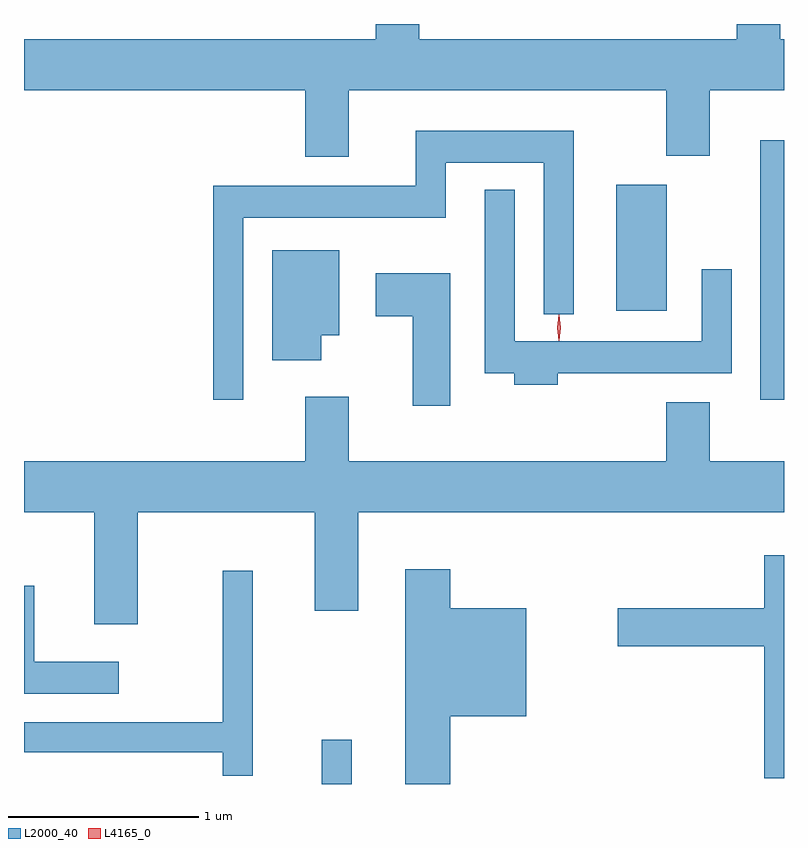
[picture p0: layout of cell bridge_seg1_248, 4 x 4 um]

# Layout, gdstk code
import gdstk
lib = gdstk.Library(unit=1e-6, precision=1e-09)
def R(c, l, rs):  # rectangles x0, y0, x1, y1
    for r in rs: c.add(gdstk.rectangle(r[:2], r[2:], *l))
def P(c, l, *ps):  # polygons
    for p in ps: c.add(gdstk.Polygon(p, *l))
L2000_40 = (2000, 40)
L4165_0 = (4165, 0)

bridge_seg1_248 = lib.new_cell('bridge_seg1_248')
R(bridge_seg1_248, L2000_40, [(962.956,889.265,963.114,889.498), (965.266,891.288,965.39,892.654), (964.506,891.756,964.774,892.419)])
P(bridge_seg1_248, L2000_40, [(963.099,892.916),(964.771,892.916),(964.771,892.571),(964.999,892.571),(964.999,892.916),(965.39,892.916),(965.39,893.184),(965.369,893.184),(965.369,893.265),(965.141,893.265),(965.141,893.184),(963.469,893.184),(963.469,893.265),(963.241,893.265),(963.241,893.184),(961.39,893.184),(961.39,892.916),(962.871,892.916),(962.871,892.566),(963.099,892.566)],
  [(962.544,892.246),(963.609,892.246),(963.609,892.536),(964.126,892.536),(964.126,891.738),(964.284,891.738),(964.284,892.704),(963.451,892.704),(963.451,892.414),(962.386,892.414),(962.386,891.288),(962.544,891.288)],
  [(964.199,891.426),(965.114,891.426),(965.114,891.973),(964.956,891.973),(964.956,891.594),(963.974,891.594),(963.974,892.393),(963.816,892.393),(963.816,891.426),(963.971,891.426),(963.971,891.366),(964.199,891.366)],
  [(962.954,891.626),(963.049,891.626),(963.049,892.074),(962.696,892.074),(962.696,891.496),(962.954,891.496)],
  [(963.634,891.954),(963.241,891.954),(963.241,891.726),(963.436,891.726),(963.436,891.256),(963.634,891.256)],
  [(961.989,890.696),(962.921,890.696),(962.921,890.176),(963.149,890.176),(963.149,890.696),(965.39,890.696),(965.39,890.964),(964.999,890.964),(964.999,891.274),(964.771,891.274),(964.771,890.964),(963.099,890.964),(963.099,891.304),(962.871,891.304),(962.871,890.964),(961.39,890.964),(961.39,890.696),(961.761,890.696),(961.761,890.106),(961.989,890.106)],
  [(965.39,890.469),(965.286,890.469),(965.286,890.189),(964.516,890.189),(964.516,889.991),(965.286,889.991),(965.286,889.296),(965.39,889.296)],
  [(963.634,889.621),(964.034,889.621),(964.034,890.189),(963.634,890.189),(963.634,890.394),(963.396,890.394),(963.396,889.265),(963.634,889.265)],
  [(962.594,890.388),(962.436,890.388),(962.436,889.589),(961.39,889.589),(961.39,889.431),(962.436,889.431),(962.436,889.308),(962.594,889.308)],
  [(961.888,889.909),(961.444,889.909),(961.444,890.309),(961.39,890.309),(961.39,889.741),(961.888,889.741)])
P(bridge_seg1_248, L4165_0, [(964.205,891.597),(964.196,891.667),(964.205,891.736),(964.206,891.736),(964.206,891.736),(964.216,891.667),(964.206,891.597),(964.206,891.597)])

lib.write_gds('bridge_seg1_248.gds')
